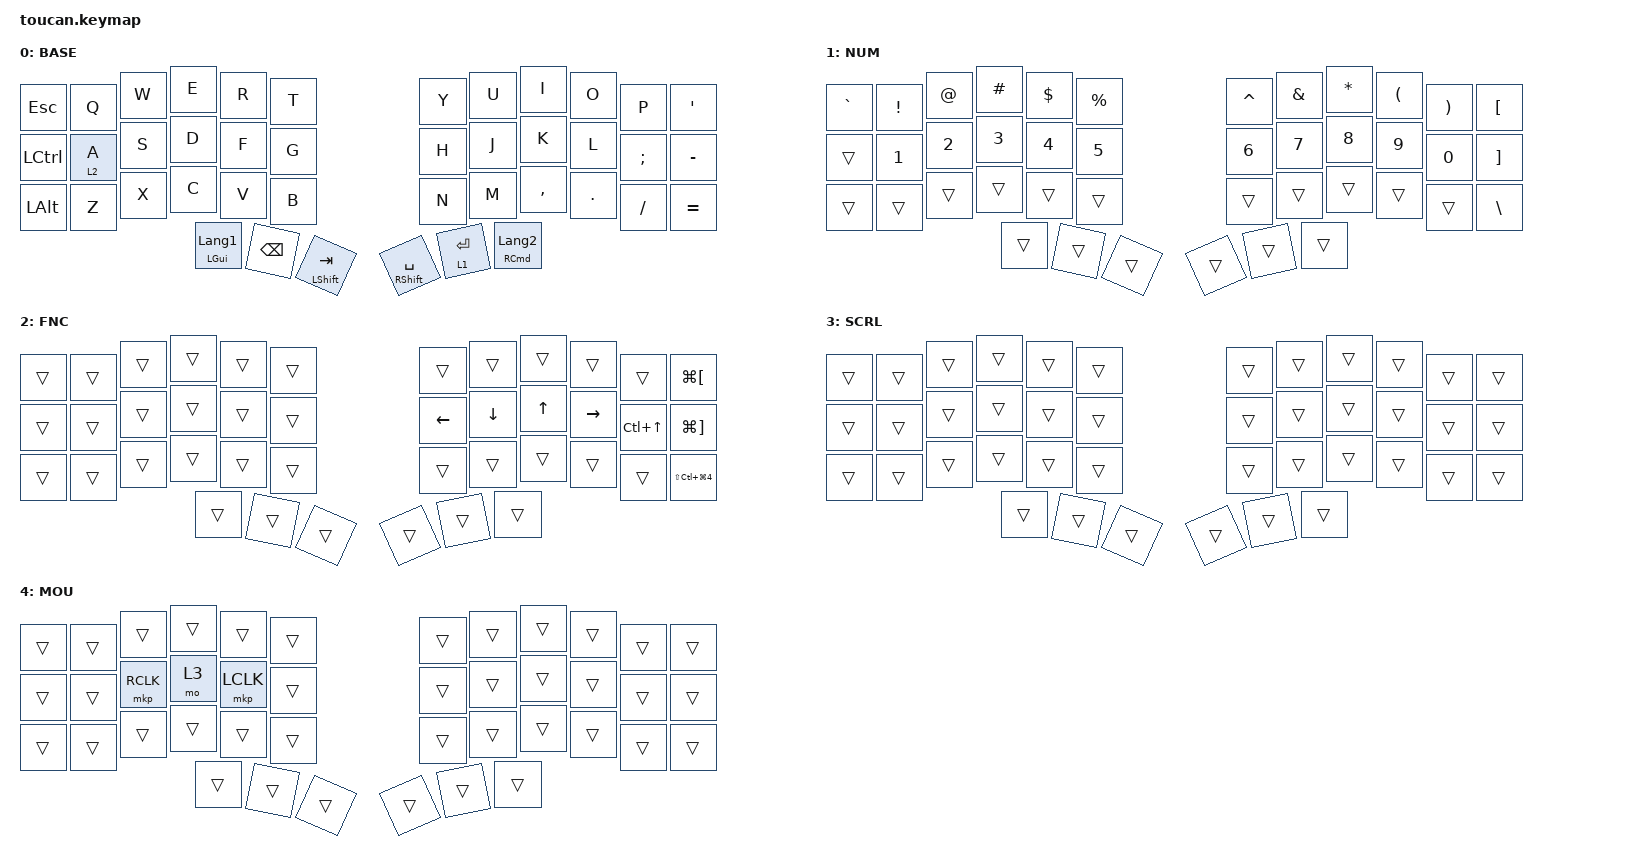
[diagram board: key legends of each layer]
#include <behaviors.dtsi>
#include <dt-bindings/zmk/bt.h>
#include <dt-bindings/zmk/keys.h>
#include <dt-bindings/zmk/pointing.h>

#define BASE 0
#define NAV  1
#define SYM  2
#define ADJ  3

/ {
    conditional_layers { compatible = "zmk,conditional-layers"; };

    combos {
        compatible = "zmk,combos";

        bt_0 {
            bindings = <&bt BT_SEL 0>;
            key-positions = <8 9>;
        };

        bt_1 {
            bindings = <&bt BT_SEL 1>;
            key-positions = <20 21>;
        };

        bt_2 {
            bindings = <&bt BT_SEL 2>;
            key-positions = <32 33>;
        };
    };

    behaviors {
        mt_d: mt_d {
            compatible = "zmk,behavior-hold-tap";
            label = "MT_D";
            bindings = <&kp>, <&kp>;

            #binding-cells = <2>;
            tapping-term-ms = <200>;
            flavor = "balanced";
            quick-tap-ms = <200>;
        };

        lt_d: lt_d {
            compatible = "zmk,behavior-hold-tap";
            label = "LT_D";
            bindings = <&mo>, <&kp>;

            #binding-cells = <2>;
            tapping-term-ms = <200>;
            flavor = "balanced";
            quick-tap-ms = <200>;
        };

        mt_m: mt_m {
            compatible = "zmk,behavior-hold-tap";
            label = "MT_M";
            bindings = <&mkp>, <&kp>;

            #binding-cells = <2>;
            tapping-term-ms = <200>;
            flavor = "balanced";
            quick-tap-ms = <200>;
        };
    };

    keymap {
        compatible = "zmk,keymap";

        base {
            display-name = "BASE";
            bindings = <
&kp ESCAPE  &kp Q  &kp W  &kp E  &kp R  &kp T  &kp Y  &kp U  &kp I  &kp O  &kp P  &kp SQT  &kp LEFT_CONTROL  &lt 2 A  &kp S  &kp D  &kp F  &kp G  &kp H  &kp J  &kp K  &kp L  &kp SEMI  &kp MINUS  &kp LEFT_ALT  &kp Z  &kp X  &kp C  &kp V  &kp B  &kp N  &kp M  &kp COMMA  &kp DOT  &kp FSLH  &kp EQUAL  &mt LEFT_GUI LANGUAGE_1  &kp BACKSPACE  &mt_d LEFT_SHIFT TAB  &mt RIGHT_SHIFT SPACE  &lt 1 ENTER  &mt RIGHT_COMMAND LANGUAGE_2
            >;
        };

        num {
            display-name = "NUM";
            bindings = <
&kp GRAVE  &kp EXCLAMATION  &kp AT_SIGN  &kp HASH  &kp DOLLAR  &kp PERCENT  &kp CARET  &kp AMPERSAND  &kp ASTERISK  &kp LEFT_PARENTHESIS  &kp RIGHT_PARENTHESIS  &kp LEFT_BRACKET  &trans  &kp N1  &kp N2  &kp N3  &kp N4  &kp N5  &kp N6  &kp N7  &kp N8  &kp N9  &kp N0  &kp RIGHT_BRACKET  &trans  &trans  &trans  &trans  &trans  &trans  &trans  &trans  &trans  &trans  &trans  &kp BACKSLASH  &trans  &trans  &trans  &trans  &trans  &trans
            >;
        };

        fnc {
            display-name = "FNC";
            bindings = <
&trans  &trans  &trans  &trans  &trans  &trans  &trans  &trans  &trans  &trans  &trans  &kp LG(LEFT_BRACKET)  &trans  &trans  &trans  &trans  &trans  &trans  &kp LEFT  &kp DOWN  &kp UP  &kp RIGHT  &kp LC(UP_ARROW)  &kp LG(RIGHT_BRACKET)  &trans  &trans  &trans  &trans  &trans  &trans  &trans  &trans  &trans  &trans  &trans  &kp LS(LC(LG(NUMBER_4)))  &trans  &trans  &trans  &trans  &trans  &trans
            >;
        };

        scrl {
            display-name = "SCRL";
            bindings = <
&trans  &trans  &trans  &trans  &trans  &trans  &trans  &trans  &trans  &trans  &trans  &trans  &trans  &trans  &trans  &trans  &trans  &trans  &trans  &trans  &trans  &trans  &trans  &trans  &trans  &trans  &trans  &trans  &trans  &trans  &trans  &trans  &trans  &trans  &trans  &trans  &trans  &trans  &trans  &trans  &trans  &trans
            >;
        };

        mouse {
            bindings = <
&trans  &trans  &trans  &trans  &trans  &trans  &trans  &trans  &trans  &trans  &trans  &trans  &trans  &trans  &mkp RCLK  &mo 3  &mkp LCLK  &trans  &trans  &trans  &trans  &trans  &trans  &trans  &trans  &trans  &trans  &trans  &trans  &trans  &trans  &trans  &trans  &trans  &trans  &trans  &trans  &trans  &trans  &trans  &trans  &trans
            >;

            label = "MOU";
        };
    };
};
